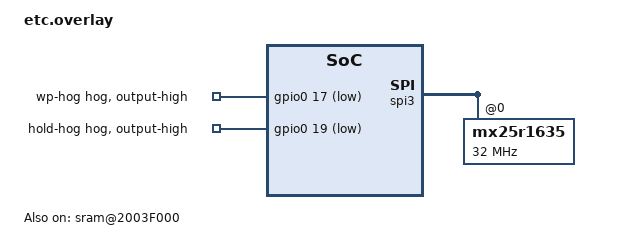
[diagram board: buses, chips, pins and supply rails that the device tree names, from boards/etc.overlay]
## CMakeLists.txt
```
cmake_minimum_required(VERSION 3.13.1)

set(PROJECT_VERSION_MAJOR 4)
set(PROJECT_VERSION_MINOR 0)
set(PROJECT_VERSION_PATCH 1)
set(PROJECT_VERSION ${PROJECT_VERSION_MAJOR}.${PROJECT_VERSION_MINOR}.${PROJECT_VERSION_PATCH})

# set(PROJECT_VERSION_DEV 1)
# set(PROJECT_VERSION_RC 3)
set(PROJECT_VERSION_CARRIER "" CACHE STRING "Carrier identifier suffix (e.g. sora, teal)")

if(PROJECT_VERSION_RC)
  set(PROJECT_VERSION_SUFFIX "rc${PROJECT_VERSION_RC}")
  set(PROJECT_VERSION_BUILD "${PROJECT_VERSION_RC}")
elseif(PROJECT_VERSION_DEV)
  set(PROJECT_VERSION_SUFFIX "dev${PROJECT_VERSION_DEV}")
  set(PROJECT_VERSION_BUILD "99")
else()
  if(PROJECT_VERSION_CARRIER)
    set(PROJECT_VERSION_SUFFIX "${PROJECT_VERSION_CARRIER}")
  else()
    set(PROJECT_VERSION_SUFFIX "")
  endif()
  set(PROJECT_VERSION_BUILD "0")
endif()

if(PROJECT_VERSION_SUFFIX)
  set(PROJECT_VERSION ${PROJECT_VERSION}-${PROJECT_VERSION_SUFFIX})
endif()

set(PM_STATIC_YML_FILE
  ${CMAKE_CURRENT_LIST_DIR}/boards/pm_static.yml
)

configure_file(app_version.h.in ${CMAKE_BINARY_DIR}/app/include/app_version.h)
configure_file(version.h.in ${CMAKE_BINARY_DIR}/app/config/mcu_version.conf)
list(APPEND OVERLAY_CONFIG ${CMAKE_BINARY_DIR}/app/config/mcu_version.conf)

# When tools like VS Code nRF Connect pass -DCONF_FILE="prj.conf", Zephyr skips automatic
# inclusion of board fragments in boards/ (e.g. boards/etc_flex_nrf52840.conf and revision .conf).
# Unsetting CONF_FILE if it is just "prj.conf" allows Zephyr to discover all board/revision configs.
if(CONF_FILE STREQUAL "prj.conf")
  unset(CONF_FILE)
  unset(CONF_FILE CACHE)
endif()

# Similarly, if DTC_OVERLAY_FILE is set by the IDE or user, move it to EXTRA_DTC_OVERLAY_FILE
# so Zephyr's default board overlays in boards/ are still automatically discovered and applied.
if(DEFINED DTC_OVERLAY_FILE)
  list(APPEND EXTRA_DTC_OVERLAY_FILE ${DTC_OVERLAY_FILE})
  unset(DTC_OVERLAY_FILE)
  unset(DTC_OVERLAY_FILE CACHE)
endif()

# Include app_version.h for app and libraries
include_directories(app PRIVATE ${CMAKE_BINARY_DIR}/app/include)

find_package(Zephyr REQUIRED HINTS $ENV{ZEPHYR_BASE})

project(app LANGUAGES C)

target_include_directories(app PRIVATE src)

target_sources(app PRIVATE src/main.c
  src/common.c)
target_sources_ifdef(CONFIG_MCUMGR_SMP_BT app PRIVATE src/bluetooth.c)

add_subdirectory(src/exact)
add_subdirectory(src/events)
add_subdirectory(src/modules)
add_subdirectory(src/data)
add_subdirectory(src/cloud)

zephyr_include_directories_ifdef(CONFIG_MEMFAULT configuration/memfault)
zephyr_include_directories_ifdef(CONFIG_AWS_IOT_PROVISION_CERTIFICATES certs)

if(CONFIG_NRFX_TWIM AND CONFIG_I2C_LOG_LEVEL_DBG)
  zephyr_compile_definitions(NRFX_TWIM_CONFIG_LOG_ENABLED=1)
  # zephyr_compile_definitions(NRFX_SPIM_CONFIG_LOG_ENABLED=1)
endif()
```

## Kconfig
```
menu "EXACT Monitor 2.0 Application"

config PUBLICATION_INTERVAL_SECONDS
	int "Interval in seconds that the sample will publish data"
	default 60

config CONNECTION_RETRY_TIMEOUT_SECONDS
	int "Number of seconds between each AWS IoT connection retry"
	default 30

config APP_AWS_IOT
	bool "Enable/disable use of AWS IoT to connect to cloud"
	default y

rsource "src/exact/Kconfig"
rsource "src/cloud/Kconfig"
rsource "src/cloud/Kconfig.lwm2m"
rsource "src/modules/Kconfig.app_module"
rsource "src/modules/Kconfig.debug_module"
rsource "src/modules/Kconfig.modem_module"
rsource "src/modules/Kconfig.ui_module"
rsource "src/modules/Kconfig.lora_module"
rsource "src/cloud/cloud_codec/Kconfig"
endmenu

menu "Zephyr Kernel"
source "$ZEPHYR_BASE/Kconfig.zephyr"
endmenu

module = ETC_APP
module-str = ETC App
source "${ZEPHYR_BASE}/subsys/logging/Kconfig.template.log_config"
```

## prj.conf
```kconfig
# General config
CONFIG_NEWLIB_LIBC=y
CONFIG_NEWLIB_LIBC_FLOAT_PRINTF=y
CONFIG_POSIX_API=y
CONFIG_ASSERT=y
CONFIG_REBOOT=y
CONFIG_RESET_ON_FATAL_ERROR=n
CONFIG_FPU=y
CONFIG_FW_INFO=y

# Heap and stacks
CONFIG_HW_STACK_PROTECTION=y
CONFIG_MCUMGR_TRANSPORT_WORKQUEUE_STACK_SIZE=4096

# Flash Settings
CONFIG_FLASH=y
CONFIG_FLASH_PAGE_LAYOUT=y
CONFIG_FLASH_MAP=y
CONFIG_SOC_FLASH_NRF_UICR=y
CONFIG_MPU_ALLOW_FLASH_WRITE=y

# Application Event Manager
CONFIG_APP_EVENT_MANAGER=y
CONFIG_APP_EVENT_MANAGER_LOG_EVENT_TYPE=n

# Enable uart console
CONFIG_USB_DEVICE_STACK=y
CONFIG_USB_DEVICE_INITIALIZE_AT_BOOT=y
CONFIG_UART_LINE_CTRL=y
CONFIG_USB_CDC_ACM_LOG_LEVEL_OFF=y

# Enable ETC setting for system configuration
CONFIG_ETC_SETTINGS=y

# Enable Date Time customize with BG95
CONFIG_ETC_DATE_TIME=y

# Device Mode
CONFIG_ETC_DEVICE=y
CONFIG_ETC_DEVICE_MODE=2

############ LwM2M Configuration ############
# DTLS Configuration for use with Quectel BG95
CONFIG_MODEM_QUECTEL_BG95_M3_PSK_KEY="70475440693636213646256D7744"

# ETC Device configuration
CONFIG_ETC_DEVICE_RADIO_MODE=0

CONFIG_LOG_BUFFER_SIZE=2048

# LwM2M Server configuration
CONFIG_LWM2M_INTEGRATION_SERVER_URL="coaps://us.iot.avsystem.cloud:5684"
CONFIG_LWM2M_RD_CLIENT_SUPPORT_BOOTSTRAP=n

# General LwM2M config
CONFIG_EXACT_LWM2M_CLIENT_UTILS=y
CONFIG_EXACT_LWM2M_CLIENT_UTILS_SECURITY_OBJ_SUPPORT=y
CONFIG_LWM2M_INTEGRATION=y
CONFIG_LWM2M=y
CONFIG_LWM2M_DTLS_SUPPORT=y
CONFIG_LWM2M_SECURITY_KEY_SIZE=33
CONFIG_LWM2M_VERSION_1_1=y
CONFIG_LWM2M_ENGINE_STACK_SIZE=4096
CONFIG_LWM2M_COAP_BLOCK_SIZE=1024
CONFIG_LWM2M_DNS_SUPPORT=y
CONFIG_LWM2M_SECURITY_INSTANCE_COUNT=2
CONFIG_COAP_INIT_ACK_TIMEOUT_MS=4000
CONFIG_BASE64=y

# Transmission buffers.
CONFIG_LWM2M_ENGINE_MAX_OBSERVER=5
CONFIG_LWM2M_ENGINE_MAX_MESSAGES=5
CONFIG_LWM2M_ENGINE_MAX_REPLIES=2
CONFIG_LWM2M_ENGINE_MAX_PENDING=2

# App buffer for queuing LwM2M objects and resources
CONFIG_CLOUD_CODEC_LWM2M_PATH_LIST_ENTRIES_MAX=35

# CBOR encoding.
CONFIG_LWM2M_RW_SENML_CBOR_SUPPORT=y
CONFIG_LWM2M_RW_SENML_CBOR_RECORDS=75
CONFIG_ZCBOR=y
CONFIG_ZCBOR_CANONICAL=y
CONFIG_MCUMGR_SMP_CBOR_MAX_DECODING_LEVELS=5
CONFIG_MCUMGR_SMP_CBOR_MAX_ENCODING_LEVELS=5

# Set uptime to once every 12 hours.
CONFIG_LWM2M_ENGINE_DEFAULT_LIFETIME=43200

# LwM2M Queue Mode
CONFIG_LWM2M_QUEUE_MODE_ENABLED=y
# Skipping the socket close when entering RX OFF mode saves 20-30 seconds
# of modem on time. Socket close resets PSM active timer.
CONFIG_LWM2M_RD_CLIENT_SUSPEND_SOCKET_AT_IDLE=y
# Sets the duration that the lwm2m engine will be polling for data after transmission before
# the socket is closed.
CONFIG_LWM2M_QUEUE_MODE_UPTIME=30

# Adjust this to match the longest possible list size in the application.
# Should be minimum the maximum number of supported objects that can be sent simultaneously.
CONFIG_LWM2M_COMPOSITE_PATH_LIST_SIZE=20

# Enable CoAP extended option length.
CONFIG_COAP_EXTENDED_OPTIONS_LEN=y
CONFIG_COAP_EXTENDED_OPTIONS_LEN_VALUE=40

## Zephyr LwM2M Objects
# IPSO v1.1
CONFIG_LWM2M_IPSO_SUPPORT=y

# IPSO Temperature
# Use EXACT Temperature sensor object instead of IPSO
CONFIG_EXACT_LWM2M_TEMP_OBJ=y
CONFIG_EXACT_LWM2M_MAX_TEMP_SENSOR_INSTANCE_COUNT=9
CONFIG_LWM2M_IPSO_TEMP_SENSOR=n

# IPSO Humidity
CONFIG_LWM2M_IPSO_HUMIDITY_SENSOR=y
CONFIG_LWM2M_IPSO_HUMIDITY_SENSOR_VERSION_1_1=y

# Connectivity Monitoring Object
CONFIG_LWM2M_CONNMON_OBJECT_VERSION_1_2=y
CONFIG_LWM2M_CONN_MON_OBJ_SUPPORT=y
CONFIG_LWM2M_CONN_MON_BEARER_MAX=1

# FOTA
CONFIG_FOTA_DOWNLOAD=y
CONFIG_DFU_TARGET=y
CONFIG_DOWNLOAD_CLIENT=y
CONFIG_DOWNLOAD_CLIENT_HTTP_FRAG_SIZE_1024=y
CONFIG_DOWNLOAD_CLIENT_STACK_SIZE=4096
CONFIG_DOWNLOAD_CLIENT_BUF_SIZE=1500
CONFIG_DOWNLOAD_CLIENT_MAX_HOSTNAME_SIZE=128

# Watchdog module configuration
CONFIG_WATCHDOG_APPLICATION_FEED_REQUEST=y

# Retain memory
CONFIG_RETAINED_MEM=y

# Bluetooth
CONFIG_BT=y
CONFIG_BT_SETTINGS=y
CONFIG_BT_DEBUG_LOG=n
CONFIG_BT_PERIPHERAL=y
CONFIG_BT_GATT_CLIENT=y
CONFIG_BT_BROADCASTER=y
# Extended advertising is used only when a splitter is attached: the four
# sub-port temperatures push the manufacturer data past the 31-byte legacy
# limit. Without a splitter the device advertises with legacy ADV_IND.
CONFIG_BT_EXT_ADV=y
# Size the controller's max advertising data length to exactly the extended
# (splitter) advertisement: flags (3) + manufacturer data (2 + 42 = 44) +
# complete name (2 + strlen("Flex_" + 8-digit id) = 15) = 62 bytes.
CONFIG_BT_CTLR_ADV_DATA_LEN_MAX=62
CONFIG_BT_DEVICE_APPEARANCE=833
CONFIG_BT_MAX_CONN=1
CONFIG_BT_MAX_PAIRED=4
# Requested at connection: a modem TX burst can starve the link for longer
# than the default 420 ms supervision timeout.
CONFIG_BT_PERIPHERAL_PREF_TIMEOUT=400
CONFIG_BT_BAS=y
CONFIG_BT_DIS=y
CONFIG_BT_PRIVACY=y
CONFIG_BT_SMP=y
CONFIG_BT_DEVICE_NAME="Flex"
CONFIG_BT_DEVICE_NAME_DYNAMIC=y
CONFIG_BT_DEVICE_NAME_MAX=65
CONFIG_BT_L2CAP_TX_MTU=256
CONFIG_BT_BUF_ACL_RX_SIZE=256
CONFIG_BT_BUF_ACL_TX_SIZE=256
CONFIG_BT_CTLR_DATA_LENGTH_MAX=251
CONFIG_BT_KEYS_OVERWRITE_OLDEST=y
CONFIG_BT_SMP_ALLOW_UNAUTH_OVERWRITE=y
CONFIG_BT_DIS_SETTINGS=y

CONFIG_NRF_SECURITY=y
CONFIG_MBEDTLS_LEGACY_CRYPTO_C=y
CONFIG_MBEDTLS_ENABLE_HEAP=y
CONFIG_MBEDTLS_HEAP_SIZE=2048

CONFIG_BT_DIS_FW_REV=y
CONFIG_BT_DIS_HW_REV=y
CONFIG_BT_DIS_SW_REV=y
CONFIG_BT_DIS_SERIAL_NUMBER=y
# Extended string size is required for serial number (URN)
CONFIG_BT_DIS_STR_MAX=30
CONFIG_BT_DIS_MODEL="Exact-Flex"
CONFIG_BT_DIS_MANUF="EXACT"
CONFIG_BT_DIS_HW_REV_STR="Flex-HW"

# Calibration
CONFIG_ETC_CALIBRATION=y
CONFIG_TMP1826_SUPPORT_EEPROM=y

# Use new record format
CONFIG_ETC_RECORD_CBOR=y
```

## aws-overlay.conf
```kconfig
# AWS IoT library
CONFIG_AWS_IOT=y
CONFIG_AWS_IOT_CLIENT_ID_APP=y
CONFIG_AWS_IOT_BROKER_HOST_NAME="a3mld5b8glqv1c-ats.iot.us-west-2.amazonaws.com"
CONFIG_AWS_IOT_PORT=8883
CONFIG_AWS_IOT_SEC_TAG=201
CONFIG_AWS_IOT_APP_SUBSCRIPTION_LIST_COUNT=1
CONFIG_AWS_IOT_TOPIC_UPDATE_DELTA_SUBSCRIBE=n
CONFIG_AWS_IOT_LAST_WILL=n
CONFIG_AWS_IOT_TOPIC_GET_ACCEPTED_SUBSCRIBE=n
CONFIG_AWS_IOT_TOPIC_GET_REJECTED_SUBSCRIBE=n
CONFIG_AWS_IOT_MQTT_RX_TX_BUFFER_LEN=512
CONFIG_AWS_IOT_MQTT_PAYLOAD_BUFFER_LEN=512
CONFIG_AWS_IOT_CONNECTION_POLL_THREAD=y
CONFIG_AWS_IOT_PROVISION_CERTIFICATES=y

# MQTT - Maximum MQTT keepalive timeout specified by AWS IoT Core
CONFIG_MQTT_KEEPALIVE=15
CONFIG_MQTT_CLEAN_SESSION=y

# MQTT TLS
CONFIG_MQTT_LIB_TLS=y

CONFIG_ZCBOR=y
CONFIG_ZCBOR_CANONICAL=y
CONFIG_MGMT_MAX_DECODING_LEVELS=5
```

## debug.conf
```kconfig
### Cloud/Modem log levels ###
# CONFIG_MODEM_LOG_LEVEL_DBG=y
# CONFIG_MODEM_CONTEXT_VERBOSE_DEBUG=y
CONFIG_LWM2M_LOG_LEVEL_DBG=n
CONFIG_MODEM_SHELL=y
CONFIG_CLOUD_CODEC_LOG_LEVEL_DBG=n
CONFIG_CLOUD_INTEGRATION_LOG_LEVEL_DBG=n
CONFIG_GNSS_LOG_LEVEL_DBG=y
#CONFIG_MODEM_MODULE_SHELL=y

# CONFIG_SEGGER_SYSTEMVIEW=y
# CONFIG_TRACING=y

# CONFIG_MODEM_MODULE_MAX_CONNECTION_TIME_S=60

### UART/Shell/Console log levels ###
# CONFIG_MCUMGR_SMP_LOG_LEVEL_DBG=y
# CONFIG_MCUMGR_LOG_LEVEL_DBG=y
# CONFIG_UART_LOG_LEVEL_DBG=y

### Net log levels ###
# CONFIG_NET_CORE_LOG_LEVEL_DBG=y
# CONFIG_NET_IF_LOG_LEVEL_DBG=y
# CONFIG_NET_CONN_LOG_LEVEL_DBG=y
# CONFIG_NET_SOCKETS_LOG_LEVEL_DBG=y
# CONFIG_NET_ROUTE_LOG_LEVEL_DBG=y
# CONFIG_NET_IPV4_LOG_LEVEL_DBG=y

### Peripheral devices log levels ###
# CONFIG_I2C_SHELL=y
# CONFIG_BQ25618_LOG_LEVEL_DBG=y

### ETC APP log levels ###
CONFIG_ETC_APP_LOG_LEVEL_DBG=y
CONFIG_ETC_SETTINGS_LOG_LEVEL_DBG=y
# CONFIG_ETC_BATTERY_LOG_LEVEL_DBG=y
# CONFIG_LORA_LOG_LEVEL_DBG=y

### Date/Time and RTC log levels ###
CONFIG_WATCHDOG_LOG_LEVEL_DBG=y
CONFIG_DATE_TIME_LOG_LEVEL_DBG=y
CONFIG_PCF85263_LOG_LEVEL_DBG=n

### ETC Libs log levels ###
CONFIG_UI_LOG_LEVEL_DBG=y
CONFIG_ETC_INTERFACE_LOG_LEVEL_DBG=y

### Memory log levels ###
CONFIG_STREAM_FLASH_LOG_LEVEL_DBG=y
CONFIG_FLASH_LOG_LEVEL_INF=y

### Add flash map to report partition structure ###
CONFIG_FLASH_MAP_SHELL=y

### FW Update log levels ###
CONFIG_DFU_TARGET_LOG_LEVEL_DBG=y
CONFIG_DOWNLOAD_CLIENT_LOG_LEVEL_DBG=y
```

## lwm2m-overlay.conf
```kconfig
# DTLS Configuration for use with Quectel BG95
CONFIG_MODEM_QUECTEL_BG95_M3_PSK_KEY="70475440693636213646256D7744"

# ETC Device configuration
CONFIG_ETC_DEVICE_MODE=2
CONFIG_ETC_DEVICE_RADIO_MODE=0

CONFIG_LOG_BUFFER_SIZE=2048

# LwM2M Server configuration
CONFIG_LWM2M_INTEGRATION_SERVER_URL="coaps://us.iot.avsystem.cloud:5684"
CONFIG_LWM2M_RD_CLIENT_SUPPORT_BOOTSTRAP=n

# General LwM2M config
CONFIG_EXACT_LWM2M_CLIENT_UTILS=y
CONFIG_EXACT_LWM2M_CLIENT_UTILS_SECURITY_OBJ_SUPPORT=y
CONFIG_LWM2M_INTEGRATION=y
CONFIG_LWM2M=y
CONFIG_LWM2M_DTLS_SUPPORT=y
CONFIG_LWM2M_SECURITY_KEY_SIZE=33
CONFIG_LWM2M_VERSION_1_1=y
CONFIG_LWM2M_ENGINE_STACK_SIZE=4096
CONFIG_LWM2M_COAP_BLOCK_SIZE=1024
CONFIG_LWM2M_DNS_SUPPORT=y
CONFIG_LWM2M_SECURITY_INSTANCE_COUNT=2
CONFIG_COAP_INIT_ACK_TIMEOUT_MS=4000
CONFIG_BASE64=y

# Transmission buffers.
CONFIG_LWM2M_ENGINE_MAX_OBSERVER=5
CONFIG_LWM2M_ENGINE_MAX_MESSAGES=2
CONFIG_LWM2M_ENGINE_MAX_REPLIES=2
CONFIG_LWM2M_ENGINE_MAX_PENDING=2

# CBOR encoding.
CONFIG_LWM2M_RW_SENML_CBOR_SUPPORT=y
CONFIG_LWM2M_RW_SENML_CBOR_RECORDS=45
CONFIG_ZCBOR=y
CONFIG_ZCBOR_CANONICAL=y
CONFIG_MGMT_MAX_DECODING_LEVELS=5

# Set uptime to once every 12 hours.
CONFIG_LWM2M_ENGINE_DEFAULT_LIFETIME=43200

# LwM2M Queue Mode
CONFIG_LWM2M_QUEUE_MODE_ENABLED=y
CONFIG_LWM2M_RD_CLIENT_SUSPEND_SOCKET_AT_IDLE=y
# Sets the duration that the lwm2m engine will be polling for data after transmission before
# the socket is closed.
CONFIG_LWM2M_QUEUE_MODE_UPTIME=30

# Adjust this to match the longest possible list size in the application.
# Should be minimum the maximum number of supported objects that can be sent simultaneously.
CONFIG_LWM2M_COMPOSITE_PATH_LIST_SIZE=15

# Enable CoAP extended option length.
CONFIG_COAP_EXTENDED_OPTIONS_LEN=y
CONFIG_COAP_EXTENDED_OPTIONS_LEN_VALUE=40

# IPSO v1.1
CONFIG_LWM2M_IPSO_SUPPORT=y

# IPSO Temperature
# Use EXACT Temperature sensor object instead of IPSO
CONFIG_LWM2M_IPSO_TEMP_SENSOR=n

# IPSO Humidity
CONFIG_LWM2M_IPSO_HUMIDITY_SENSOR=y
CONFIG_LWM2M_IPSO_HUMIDITY_SENSOR_VERSION_1_1=y
```

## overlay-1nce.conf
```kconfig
CONFIG_MODEM_QUECTEL_BG95_M3_APN="iot.1nce.net"
```

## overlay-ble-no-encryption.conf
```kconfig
CONFIG_ETC_BLE_ENCRYPTION=n
```

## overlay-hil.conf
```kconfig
# Hardware-in-the-loop (HIL) test hooks. Kept out of debug.conf so normal debug
# builds don't carry the test-only shell command overhead. Apply this overlay
# only when building firmware to run the tests under tests/hil/.

# Inject HALL/magnet-swipe events and query rail-settling state from the shell
# (magnet swipe / magnet status) for the FW-492 settling test.
CONFIG_ETC_INTERFACE_TEST_SHELL=y

# Drive the calibration state machine directly from the shell (calibration init /
# calibration run) so the calibration bug-fix HIL tests (FW-588/611/612/613) can
# reach a deterministic state (e.g. a completed-but-not-uploaded result to
# exercise the FW-611 re-entry guard) without depending on cloud connectivity.
CONFIG_CALIBRATION_MODULE_SHELL=y

# Drive the modem power state machine from the shell (modem_module power on/off,
# modem_module state) so the FW-1152 power-state HIL tests can force transitions
# on the modem module thread and cross-check the app, driver and PM views.
CONFIG_MODEM_MODULE_SHELL=y

# Stop the advertising set behind the app's back (ble adv_kill) so the FW-1203
# advertising watchdog HIL test can check it is restarted.
CONFIG_ETC_BLE_TEST_SHELL=y

# Drive sensor readings from the shell (sensor_sim set/clear/status) so the
# FW-1234 threshold trigger test needs no physical probe.
CONFIG_ETC_SENSOR_SIM_SHELL=y
```

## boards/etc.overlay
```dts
/ {
	chosen {
		nordic,pm-ext-flash = &mx25r1635;
		zephyr,uart-mcumgr = &cdc_acm_uart1;
		zephyr,shell-uart = &cdc_acm_uart0;
		zephyr,console = &cdc_acm_uart0;
	};

	aliases {
		rtc = &i2c0;
	};
};

/ {
	sram@2003F000 {
		compatible = "zephyr,memory-region", "mmio-sram";
		reg = <0x2003F000 0x1000>;
		zephyr,memory-region = "RetainedMem";
		status = "okay";

		retainedmem0: retainedmem {
			compatible = "zephyr,retained-ram";
			status = "okay";
	        };
        };

	aliases {
		record-header-ram = &retainedmem0;
	};
};

&gpregret1 {
	status = "disabled";
};

&gpregret2 {
	status = "disabled";
};

&sram0 {
	reg = <0x20000000 DT_SIZE_K(252)>;
};

&spi3 {
	mx25r1635: mx25r1635@0 {
		spi-max-frequency = <32000000>;
	};
};

&gpio0 {
	wp-hog {
		gpio-hog;
		gpios = <17 GPIO_ACTIVE_LOW>;
		output-high;
	};

	hold-hog {
		gpio-hog;
		gpios = <19 GPIO_ACTIVE_LOW>;
		output-high;
	};
};
```

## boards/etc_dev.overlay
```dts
&pinctrl {
	uart0_default: uart0_default {
		group1 {
			psels = <NRF_PSEL(UART_TX, 1, 0)>,
				<NRF_PSEL(UART_RX, 1, 9)>;
		};
	};

	uart0_sleep: uart0_sleep {
		group1 {
			psels = <NRF_PSEL(UART_TX, 1, 0)>,
				<NRF_PSEL(UART_RX, 1, 9)>;
			low-power-enable;
		};
	};
};

/ {
	chosen {
		nordic,pm-ext-flash = &mx25r1635;
		zephyr,console = &uart0;
	};
};

&uart0 {
	status = "okay";
	current-speed = <115200>;
	pinctrl-0 = <&uart0_default>;
	pinctrl-1 = <&uart0_sleep>;
	pinctrl-names = "default", "sleep";
};

/* A7 = P0.31 = AIN7 - ADC_AMB */ 
/* A3 = P0.5  = AIN3 - ADC_BATT*/
/* A2 = P0.4 = AIN2 - ADC_TH*/
/ {
	zephyr,user {
		/* adjust channel number according to pinmux in board.dts */
		io-channels = <&adc 7>, <&adc 3>, <&adc 2>;
	};
};

&adc {
	#address-cells = <1>;
	#size-cells = <0>;

	channel@7 {
		reg = <7>;
		zephyr,gain = "ADC_GAIN_1_5";
		zephyr,reference = "ADC_REF_INTERNAL";
		zephyr,acquisition-time = <ADC_ACQ_TIME_DEFAULT>;
		zephyr,input-positive = <NRF_SAADC_AIN6>; 
		zephyr,resolution = <12>;
		zephyr,oversampling = <8>;
	};

	channel@3 {
		reg = <3>;
		zephyr,gain = "ADC_GAIN_1_5";
		zephyr,reference = "ADC_REF_INTERNAL";
		zephyr,acquisition-time = <ADC_ACQ_TIME_DEFAULT>;
		zephyr,input-positive = <NRF_SAADC_AIN3>;
		zephyr,resolution = <12>;
		zephyr,oversampling = <8>;
	};

	channel@2 {
		reg = <2>;
		zephyr,gain = "ADC_GAIN_1_5";
		zephyr,reference = "ADC_REF_INTERNAL";
		zephyr,acquisition-time = <ADC_ACQ_TIME_DEFAULT>;
		zephyr,input-positive = <NRF_SAADC_AIN2>;
		zephyr,resolution = <12>;
		zephyr,oversampling = <8>;
	};
};
```

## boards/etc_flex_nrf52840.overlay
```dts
/ {
	chosen {
		nordic,pm-ext-flash = &mx25r1635;
		zephyr,uart-mcumgr = &cdc_acm_uart1;
		zephyr,shell-uart = &cdc_acm_uart0;
		zephyr,console = &cdc_acm_uart0;
	};

	aliases {
		rtc = &i2c0;
	};
};

/ {
	sram@2003F000 {
		compatible = "zephyr,memory-region", "mmio-sram";
		reg = <0x2003F000 0xC00>;
		zephyr,memory-region = "RetainedMem";
		status = "okay";

		retainedmem0: retainedmem {
			compatible = "zephyr,retained-ram";
			status = "okay";
	        };
        };

	sram@2003FC00 {
		compatible = "zephyr,memory-region", "mmio-sram";
		reg = <0x2003FC00 0x380>;
		zephyr,memory-region = "ReclaimRetainedMem";
		status = "okay";

		retainedmem1: retainedmem1 {
			compatible = "zephyr,retained-ram";
			status = "okay";
		};
	};

	sram@2003FF80 {
		compatible = "zephyr,memory-region", "mmio-sram";
		reg = <0x2003FF80 0x80>;
		zephyr,memory-region = "LteSyncRetainedMem";
		status = "okay";

		retainedmem2: retainedmem2 {
			compatible = "zephyr,retained-ram";
			status = "okay";
		};
	};

	aliases {
		reclaim-request-ram = &retainedmem1;
		record-header-ram = &retainedmem0;
		lte-sync-ram = &retainedmem2;
	};
};

&gpregret1 {
	status = "disabled";
};

&gpregret2 {
	status = "disabled";
};

&sram0 {
	reg = <0x20000000 DT_SIZE_K(252)>;
};

// Comment deletion of wp-gpios and hold-gpios after upgrade to NCS v2.7.0
// Without these properties, the spi_nor driver doesn't initialize properly.
&spi3 {
	mx25r1635: mx25r1635@0 {
		spi-max-frequency = <32000000>;
		// /delete-property/ wp-gpios;
		// /delete-property/ hold-gpios;
	};
};

// &gpio0 {
// 	wp-hog {
// 		gpio-hog;
// 		gpios = <17 GPIO_ACTIVE_LOW>;
// 		output-high;
// 	};

// 	hold-hog {
// 		gpio-hog;
// 		gpios = <19 GPIO_ACTIVE_LOW>;
// 		output-high;
// 	};
// };
```

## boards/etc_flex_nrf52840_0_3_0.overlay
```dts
&i2c1 {
	w1: w1@18 {
		compatible = "exact,ds2484";
		reg = <0x18>;
		w1_ds28e18: w1_ds28e18 {
			compatible = "maxim,ds28e18";
			family-code = <0x56>;
			status = "okay";
			#address-cells = <1>;
			#size-cells = <0>;
			clock-frequency = <I2C_BITRATE_STANDARD>;
			sht31@44 {
				compatible = "sensirion,sht31";
				reg = <0x44>;
				status = "okay";
			};
		};
		w1_tmp1826: w1_tmp1826 {
			compatible = "ti,tmp1826";
			family-code = <0x26>;
			resolution = <12>;
			status = "okay";
		};
	};
};
```

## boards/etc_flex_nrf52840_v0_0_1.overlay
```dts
/ {
	chosen {
		nordic,pm-ext-flash = &mx25r1635;
		zephyr,uart-mcumgr = &cdc_acm_uart0;
	};
};
```

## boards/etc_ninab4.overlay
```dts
/ {
	chosen {
		// nordic,pm-ext-flash = &mx25l6433;
		zephyr,console = &uart0;
		zephyr,shell-uart = &uart0;
	};

	vbatt {
		compatible = "voltage-divider";
		output-ohms = <2000000>;
		full-ohms = <(2000000 + 2000000)>;
		io-channels = <&adc 3>;
	};

	ntc {
		compatible = "temp,ntc";
		b-value-k = <3434>;
		norminal-25c-ohms = <10000>;
		reference-res-ohms = <10000>;
		reference-voltage-mv = <3000>;
	};
};

/* A0 = P0.04 = AIN2 */
/* A1 = P0.30 = AIN6 */
/* A2 = P0.5  = AIN3 */
/* A3 = P0.2  = AIN0 */
/* A4 = P0.28 = AIN4 */
/ {
	zephyr,user {
		/* adjust channel number according to pinmux in board.dts */
		io-channels = <&adc 2>, <&adc 6>, <&adc 3>;
	};
};
```

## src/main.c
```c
#include <zephyr/kernel.h>
#include <stdio.h>
#include <stdlib.h>
#include <zephyr/drivers/gpio.h>
#include <zephyr/usb/usb_device.h>
#include <app_version.h>
#include <zephyr/dfu/mcuboot.h>
#include <zephyr/pm/pm.h>
#include <zephyr/pm/device.h>
#include <zephyr/drivers/hwinfo.h>
#include <zephyr/stats/stats.h>
#include <zephyr/storage/flash_map.h>
#include <app_event_manager.h>
#include <zephyr/sys/reboot.h>
#if IS_ENABLED(CONFIG_ETC_DATE_TIME)
#include "etc_date_time.h"
#endif
#include "ui.h"
#include "data/etc_cape.h"
#include "events/app_event.h"
#include "etc_device.h"
#include "etc_settings.h"
#if defined(CONFIG_BT)
#include "etc_ble.h"
#endif
#if defined(CONFIG_LWM2M_INTEGRATION_FIRMWARE_UPDATE_OBJ_SUPPORT)
#include "lwm2m_firmware.h"
#endif
#include <zephyr/logging/log.h>
LOG_MODULE_REGISTER(main, CONFIG_ETC_APP_LOG_LEVEL);

#define MODULE_APP_THREAD_STACK_SIZE	2048
#define MODULE_CLOUD_THREAD_STACK_SIZE	4096
#define MODULE_BLE_THREAD_STACK_SIZE	4096
#define MODULE_DATA_THREAD_STACK_SIZE	2048
#define MODULE_LORA_THREAD_STACK_SIZE	2048
#define MODULE_MODEM_THREAD_STACK_SIZE	2048
#define MODULE_SENSOR_THREAD_STACK_SIZE 2048

static struct k_thread app_thread;
static struct k_thread cloud_thread;
static struct k_thread ble_thread;
static struct k_thread data_thread;
static struct k_thread lora_thread;
static struct k_thread modem_thread;
static struct k_thread sensor_thread;

static K_KERNEL_STACK_DEFINE(app_stack, MODULE_APP_THREAD_STACK_SIZE);
static K_KERNEL_STACK_DEFINE(cloud_stack, MODULE_CLOUD_THREAD_STACK_SIZE);
static K_KERNEL_STACK_DEFINE(ble_stack, MODULE_BLE_THREAD_STACK_SIZE);
static K_KERNEL_STACK_DEFINE(data_stack, MODULE_DATA_THREAD_STACK_SIZE);
static K_KERNEL_STACK_DEFINE(lora_stack, MODULE_LORA_THREAD_STACK_SIZE);
static K_KERNEL_STACK_DEFINE(modem_stack, MODULE_MODEM_THREAD_STACK_SIZE);
static K_KERNEL_STACK_DEFINE(sensor_stack, MODULE_SENSOR_THREAD_STACK_SIZE);

#ifdef CONFIG_MCUMGR_GRP_STAT
#include <zephyr/mgmt/mcumgr/grp/stat_mgmt/stat_mgmt.h>
#endif
#ifdef CONFIG_MCUMGR_CMD_ETC_MGMT
#include "etc_mgmt.h"
#endif

/* Define an example stats group; approximates seconds since boot. */
STATS_SECT_START(smp_svr_stats)
STATS_SECT_ENTRY(ticks)
STATS_SECT_END;

/* Assign a name to the `ticks` stat. */
STATS_NAME_START(smp_svr_stats)
STATS_NAME(smp_svr_stats, ticks)
STATS_NAME_END(smp_svr_stats);
/* Define an instance of the stats group. */
STATS_SECT_DECL(smp_svr_stats) smp_svr_stats;

char key[] = "ElL10TaC4T";

extern void app_module_thread_fn(void);
extern void cloud_module_thread_fn(void);
extern void ble_module_thread_fn(void);
extern void data_module_thread_fn(void);
extern void lora_module_thread_fn(void);
extern void modem_module_thread_fn(void);
extern void sensor_module_thread_fn(void);

int main(void)
{
	int rc = STATS_INIT_AND_REG(smp_svr_stats, STATS_SIZE_32, "smp_svr_stats");
	if (rc < 0) {
		LOG_ERR("Error initializing stats system [%d]", rc);
		return -EINVAL;
	}

	LOG_INF("EXACT Monitor 2.0 version %s", APP_VERSION_STRING);
#ifdef CONFIG_MCUMGR_CMD_ETC_MGMT
	etc_mgmt_register_group();
#endif

	struct mcuboot_img_header img_hdr;
	etc_cape_init(key, 10, 0);
	etc_cape_set_key(key, 10);

#ifdef CONFIG_MCUMGR
	/* using __TIME__ ensure that a new binary will be built on every
	 * compile which is convient when testing firmware upgrade.
	 */
	rc = boot_read_bank_header(FLASH_AREA_ID(image_0), &img_hdr, sizeof(img_hdr));
	if (rc) {
		LOG_ERR("Failed to get header %d", rc);
		return -EINVAL;
	} else {
		if (APP_VERSION_MAJOR != img_hdr.h.v1.sem_ver.major ||
		    APP_VERSION_MINOR != img_hdr.h.v1.sem_ver.minor ||
		    APP_VERSION_PATCH != img_hdr.h.v1.sem_ver.revision)
			LOG_DBG("Build Date: " __DATE__ " " __TIME__ " Version: %u.%u.%u+%u",
				(unsigned int)img_hdr.h.v1.sem_ver.major,
				(unsigned int)img_hdr.h.v1.sem_ver.minor,
				(unsigned int)img_hdr.h.v1.sem_ver.revision,
				(unsigned int)img_hdr.h.v1.sem_ver.build_num);
	}
#endif

#if defined(CONFIG_BOOTLOADER_MCUBOOT)
#if defined(CONFIG_LWM2M_INTEGRATION_FIRMWARE_UPDATE_OBJ_SUPPORT)
	lwm2m_firmware_self_confirm();
#else
	if (!boot_is_img_confirmed()) {
		LOG_INF("Unconfirmed image on boot; self-confirming to prevent rollback...");
		rc = boot_write_img_confirmed();
		if (rc) {
			LOG_ERR("Failed to confirm image: %d", rc);
		} else {
			LOG_INF("Firmware image confirmed successfully");
		}
	}
#endif
#endif

	etc_device_nvs_init();
	etc_settings_init();
	etc_device_init();
	ui_init();

	/* Initialize all threads */
	k_thread_create(&app_thread, app_stack, K_KERNEL_STACK_SIZEOF(app_stack),
			(k_thread_entry_t)app_module_thread_fn, NULL, NULL, NULL,
			K_LOWEST_APPLICATION_THREAD_PRIO, 0, K_NO_WAIT);
	k_thread_create(&cloud_thread, cloud_stack, K_KERNEL_STACK_SIZEOF(cloud_stack),
			(k_thread_entry_t)cloud_module_thread_fn, NULL, NULL, NULL,
			K_LOWEST_APPLICATION_THREAD_PRIO, 0, K_NO_WAIT);
	k_thread_create(&ble_thread, ble_stack, K_KERNEL_STACK_SIZEOF(ble_stack),
			(k_thread_entry_t)ble_module_thread_fn, NULL, NULL, NULL,
			K_LOWEST_APPLICATION_THREAD_PRIO, 0, K_NO_WAIT);
	k_thread_create(&data_thread, data_stack, K_KERNEL_STACK_SIZEOF(data_stack),
			(k_thread_entry_t)data_module_thread_fn, NULL, NULL, NULL,
			K_LOWEST_APPLICATION_THREAD_PRIO, 0, K_NO_WAIT);
	k_thread_create(&lora_thread, lora_stack, K_KERNEL_STACK_SIZEOF(lora_stack),
			(k_thread_entry_t)lora_module_thread_fn, NULL, NULL, NULL,
			K_LOWEST_APPLICATION_THREAD_PRIO, 0, K_NO_WAIT);
	k_thread_create(&modem_thread, modem_stack, K_KERNEL_STACK_SIZEOF(modem_stack),
			(k_thread_entry_t)modem_module_thread_fn, NULL, NULL, NULL,
			K_LOWEST_APPLICATION_THREAD_PRIO, 0, K_NO_WAIT);
	k_thread_create(&sensor_thread, sensor_stack, K_KERNEL_STACK_SIZEOF(sensor_stack),
			(k_thread_entry_t)sensor_module_thread_fn, NULL, NULL, NULL,
			K_LOWEST_APPLICATION_THREAD_PRIO, 0, K_NO_WAIT);

	if (app_event_manager_init()) {
		/* Without the Application Event Manager, the application will not work
		 * as intended. A reboot is required in an attempt to recover.
		 */
		LOG_ERR("Application Event Manager could not be initialized, rebooting...");
		k_sleep(K_SECONDS(5));
		sys_reboot(SYS_REBOOT_COLD);
		while (1) {
			k_yield();
		}
	} else {
		LOG_INF("Application Event Manager initialized successfully");
	}

	struct app_event *event = new_app_event();
	event->type = APP_EVT_START;
	APP_EVENT_SUBMIT(event);
	/* The system work queue handles all incoming mcumgr requests.  Let the
	 * main thread idle while the mcumgr server runs.
	 */
	while (true) {
		k_sleep(K_FOREVER);
	}

	/* Never reach here */
	return 0;
}
```

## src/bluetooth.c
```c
/*
 * Copyright (c) 2012-2014 Wind River Systems, Inc.
 * Copyright (c) 2020 Prevas A/S
 *
 * SPDX-License-Identifier: Apache-2.0
 */

#include <zephyr/bluetooth/bluetooth.h>
#include <zephyr/bluetooth/conn.h>
#include <zephyr/bluetooth/gatt.h>
#include <zephyr/mgmt/mcumgr/smp_bt.h>

#define LOG_LEVEL LOG_LEVEL_DBG
#include <zephyr/logging/log.h>
LOG_MODULE_REGISTER(smp_bt);

static struct k_work advertise_work;

static const struct bt_data ad[] = {
	BT_DATA_BYTES(BT_DATA_FLAGS, (BT_LE_AD_GENERAL | BT_LE_AD_NO_BREDR)),
	BT_DATA_BYTES(BT_DATA_UUID128_ALL,
		      0x84, 0xaa, 0x60, 0x74, 0x52, 0x8a, 0x8b, 0x86,
		      0xd3, 0x4c, 0xb7, 0x1d, 0x1d, 0xdc, 0x53, 0x8d),
};

static void advertise(struct k_work *work)
{
	int rc;

	bt_le_adv_stop();

	rc = bt_le_adv_start(BT_LE_ADV_CONN_NAME, ad, ARRAY_SIZE(ad), NULL, 0);
	if (rc) {
		LOG_ERR("Advertising failed to start (rc %d)", rc);
		return;
	}

	LOG_INF("Advertising successfully started");
}

static void connected(struct bt_conn *conn, uint8_t err)
{
	if (err) {
		LOG_ERR("Connection failed (err 0x%02x)", err);
	} else {
		LOG_INF("Connected");
	}
}

static void disconnected(struct bt_conn *conn, uint8_t reason)
{
	LOG_INF("Disconnected (reason 0x%02x)", reason);
	k_work_submit(&advertise_work);
}

BT_CONN_CB_DEFINE(conn_callbacks) = {
	.connected = connected,
	.disconnected = disconnected,
};

static void bt_ready(int err)
{
	if (err) {
		LOG_ERR("Bluetooth init failed (err %d)", err);
		return;
	}

	LOG_INF("Bluetooth initialized");

	k_work_submit(&advertise_work);
}

void start_smp_bluetooth(void)
{
	k_work_init(&advertise_work, advertise);

	/* Enable Bluetooth. */
	int rc = bt_enable(bt_ready);

	if (rc != 0) {
		LOG_ERR("Bluetooth init failed (err %d)", rc);
		return;
	}

	/* Initialize the Bluetooth mcumgr transport. */
	smp_bt_register();
}
```

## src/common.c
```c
#include "etc_device.h"
#include "etc_sensor.h"
#include "etc_settings.h"
#include "etc_battery.h"
#include "app_version.h"
#include "common.h"
#include "etc_util.h"

#include <zephyr/logging/log.h>
LOG_MODULE_REGISTER(common, CONFIG_ETC_APP_LOG_LEVEL);

#define PAYLOAD_LOGGER_LEGACY_LEN 128

static char decoded_buf[PAYLOAD_LOGGER_LEGACY_LEN] = {0x00};

void etc_common_add_sensor_value(char *decoded_buf, int *decoded_buf_len, int decoded_buf_size,
				 float value)
{
	if (sensor_temperature_is_valid(value)) {
		*decoded_buf_len += snprintf(decoded_buf + *decoded_buf_len,
					     decoded_buf_size - *decoded_buf_len, "%.1f,", value);
	} else {
		*decoded_buf_len += snprintf(decoded_buf + *decoded_buf_len,
					     decoded_buf_size - *decoded_buf_len, "*,");
	}
}

int etc_common_prepare_relay_legacy_data(struct etc_device_relay_record *record, char *out_buf,
					 int *out_len, int out_size)
{
	int decoded_buf_len = 0;
	bool is_parent = false;

	char relay_iccid[ETC_SETTING_RELAY_ICCID_LEN + 1] = {0};
	etc_get_relay_iccid(relay_iccid, sizeof(relay_iccid));
	relay_iccid[ETC_SETTING_RELAY_ICCID_LEN] = '\0';

	if (etc_common_is_packet_from_parent(relay_iccid, record->relay_id)) {
		is_parent = true;
	}

	/* Legacy format:
		<Logger FW Ver>,<Logger RSSI>,<Logger ID>,<Logger Vbat>,
		`<Relay RSSI>`,`<Relay Vbat>`,`<Relay Qual>`,<Relay FW Ver>,
		<packet #>,<timestamp>,
		<temp 1>,<temp 2>,<temp 3>,<temp 4>,<temp 5>,<Humidity>,
		<isParent?>,<isReclaimed?>,
		<temp 1.B>,<temp 2.B>,<temp 3.B>,<temp 4.B>,
		<Error Code>
	 */
	float relay_vbat = (float)etc_battery_get_voltage_mV() / 1000.0;
	decoded_buf_len +=
		snprintf(out_buf, out_size, "%s,%d,%s,%.2f,*,%.2f,*,%s,%d,%d,", record->logger_ver,
			 record->logger_rssi, record->logger_id, record->battery, relay_vbat,
			 APP_VERSION_STRING, record->packet_number, record->timestamp);

	for (int i = 0; i <= SENSOR_INPUT_IN4; i++) {
		etc_common_add_sensor_value(out_buf, &decoded_buf_len, out_size, record->sensor[i]);
	}
	etc_common_add_sensor_value(out_buf, &decoded_buf_len, out_size,
				    record->sensor[SENSOR_INPUT_AMBIENT]);

	if (sensor_humidity_is_valid(record->sensor[SENSOR_INPUT_HUMID])) {
		decoded_buf_len += snprintf(out_buf + decoded_buf_len, out_size - decoded_buf_len,
					    "%.1f,", record->sensor[SENSOR_INPUT_HUMID]);
	} else {
		decoded_buf_len +=
			snprintf(out_buf + decoded_buf_len, out_size - decoded_buf_len, "*,");
	}

	decoded_buf_len += snprintf(out_buf + decoded_buf_len, out_size - decoded_buf_len, "%d,%d,",
				    is_parent ? 1 : 0, record->is_reclaim ? 1 : 0);

	/* Splitter sub-port temperatures (fixed position after isReclaimed).
	 * Only include if at least one sub-port has a valid reading.
	 */
	bool has_splitter = false;
	for (int i = SENSOR_INPUT_IN5; i <= SENSOR_INPUT_IN8; i++) {
		if (sensor_temperature_is_valid(record->sensor[i])) {
			has_splitter = true;
			break;
		}
	}
	if (has_splitter) {
		for (int i = SENSOR_INPUT_IN5; i <= SENSOR_INPUT_IN8; i++) {
			etc_common_add_sensor_value(out_buf, &decoded_buf_len, out_size,
						    record->sensor[i]);
		}
	}

	for (int i = 0; i < ETC_DEVICE_NUM_EXTRA_ELEMENT; i++) {
		if (record->data[i] == -1) {
			decoded_buf_len += snprintf(out_buf + decoded_buf_len,
						    out_size - decoded_buf_len, "*,");
		} else if (record->data[i] != ETC_DEVICE_INVALID_VALUE_ELEMENT) {
			decoded_buf_len +=
				snprintf(out_buf + decoded_buf_len, out_size - decoded_buf_len,
					 "%d,", record->data[i]);
		} else {
			break;
		}
	}

	if (decoded_buf_len + 1 <= out_size) {
		out_buf[decoded_buf_len] = '\0';
	} else {
		return -ENOMEM;
	}

	*out_len = decoded_buf_len;
	return 0;
}

int etc_common_prepare_relay_legacy_packet(struct etc_device_relay_packet *packet, char *out_buf,
					   int *out_len, int out_size)
{
	char *p_buf = out_buf;
	int temp_len = 0;
	int ret;
	int packed = 0;

	*out_len = 0;

	for (int i = 0; i < packet->num_records; i++) {
		int sep_len = 0;

		/* Records are joined with '|'. Write the separator first, but be ready
		 * to back it out if the following record does not fit. */
		if (packed > 0) {
			if ((out_size - *out_len) <= 1) {
				break;
			}
			*p_buf = '|';
			p_buf++;
			(*out_len)++;
			*p_buf = '\0';
			sep_len = 1;
		}

		ret = etc_common_prepare_relay_legacy_data(&packet->records[i], p_buf, &temp_len,
							   out_size - *out_len);
		if (ret != 0) {
			/* This record does not fit. Drop the separator just written and
			 * stop here; the unpacked records stay queued for the next send so
			 * the relay always makes forward progress instead of stalling on an
			 * oversized package (FW-886). */
			p_buf -= sep_len;
			*out_len -= sep_len;
			if (sep_len) {
				*p_buf = '\0';
			}
			break;
		}
		p_buf += temp_len;
		*out_len += temp_len;
		packed++;
	}

	if (packed == 0) {
		/* Not even the first record fit (a single record larger than out_size).
		 * Surface the error as before - there is no partial progress to make. */
		return -ENOMEM;
	}

	/* Report how many records actually made it into the buffer so the caller can
	 * advance the relay read index by exactly that many. */
	packet->num_records = packed;
	return 0;
}

bool etc_common_is_packet_from_parent(char *relay_iccid, char *relay_id)
{
	if (((strncmp(relay_id, "OPEN", strlen("OPEN")) == 0) &&
	     (strlen(relay_id) == strlen("OPEN"))) ||
	    (strncmp(relay_id, relay_iccid, ETC_SETTING_RELAY_ICCID_LEN) == 0 &&
	     (strlen(relay_id) == strlen(relay_iccid)))) {
		return true;
	}
	return false;
}

#ifdef CONFIG_ETC_BLE_PAYLOAD_LEGACY_FORMAT

static char buf_tmp[ETC_SETTINGS_DEVICE_ID_LEN];

int etc_common_prepare_logger_legacy_data(union etc_device_record record, bool is_reclaim,
					  char *out_buf, uint8_t *out_len)
{
	static uint8_t pkt_counter = 0;
	etc_get_device_id(buf_tmp, ETC_SETTINGS_DEVICE_ID_LEN);
	int decoded_buf_len = 0;

	/* Legacy format:
		<Firmware version>,<ID/Serial number>,<Battery voltage>,
		<packet #>,<timestamp>,
		<temp 1>,<temp 2>,<temp 3>,<temp 4>,<temp 5>,<humidity>,
		<isReclaimed>[,<temp 1.B>[,<temp 2.B>[,<temp 3.B>[,<temp 4.B>]]]]

	   The splitter sub-port temperatures (1.B..4.B = IN5..IN8) are appended
	   after isReclaimed. Trailing disconnected sub-ports are omitted: the
	   fields run from 1.B up to the highest sub-port with a valid reading, so
	   interior gaps appear as "*" but nothing is sent past the last valid port.
	 */
	decoded_buf_len +=
		snprintf(decoded_buf, sizeof(decoded_buf), "%s,%s,%1.2f,%d,%d,", APP_VERSION_STRING,
			 buf_tmp, record.battery, pkt_counter, record.timestamp);

	pkt_counter += 1;
	if (pkt_counter >= LOGGER_MAXIMUM_COUNTER) {
		pkt_counter = 0;
	}

	for (int i = 0; i <= SENSOR_INPUT_IN4; i++) {
		etc_common_add_sensor_value(decoded_buf, &decoded_buf_len, sizeof(decoded_buf),
					    record.sensor[i]);
	}
	etc_common_add_sensor_value(decoded_buf, &decoded_buf_len, sizeof(decoded_buf),
				    record.sensor[SENSOR_INPUT_AMBIENT]);

	if (sensor_humidity_is_valid(record.sensor[SENSOR_INPUT_HUMID])) {
		decoded_buf_len += snprintf(decoded_buf + decoded_buf_len,
					    sizeof(decoded_buf) - decoded_buf_len, "%2.2f,",
					    record.sensor[SENSOR_INPUT_HUMID]);
	} else {
		decoded_buf_len += snprintf(decoded_buf + decoded_buf_len,
					    sizeof(decoded_buf) - decoded_buf_len, "*,");
	}

	decoded_buf_len +=
		snprintf(decoded_buf + decoded_buf_len, sizeof(decoded_buf) - decoded_buf_len, "%d",
			 is_reclaim ? 1 : 0);

	/* Splitter sub-port temperatures (1.B..4.B = IN5..IN8), appended after
	 * isReclaimed. Emit IN5 up through the highest sub-port with a valid
	 * reading; trailing disconnected sub-ports are omitted (interior gaps
	 * become "*").
	 */
	int last_b = -1;
	for (int i = SENSOR_INPUT_IN5; i <= SENSOR_INPUT_IN8; i++) {
		if (sensor_temperature_is_valid(record.sensor[i])) {
			last_b = i;
		}
	}
	if (last_b >= 0) {
		decoded_buf_len += snprintf(decoded_buf + decoded_buf_len,
					    sizeof(decoded_buf) - decoded_buf_len, ",");
		for (int i = SENSOR_INPUT_IN5; i <= last_b; i++) {
			etc_common_add_sensor_value(decoded_buf, &decoded_buf_len,
						    sizeof(decoded_buf), record.sensor[i]);
		}
		/* Drop the helper's trailing comma so the string ends cleanly. */
		decoded_buf_len--;
	}

	decoded_buf[decoded_buf_len] = '\0';
	/* Include null terminator. Do not increment decodec_buf_len, as this
	 * would also modify out_len. */
	if ((decoded_buf_len + 1) > *out_len) {
		return -ENOMEM;
	}

	memcpy(out_buf, decoded_buf, decoded_buf_len + 1);
	*out_len = decoded_buf_len;
	return 0;
}
#endif
```

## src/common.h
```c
#ifndef COMMON_H_
#define COMMON_H_

#include "etc_device.h"

typedef enum {
        ETC_ADC_CHANNEL_AMB = 0,
        ETC_ADC_CHANNEL_BATTERY,
        ETC_ADC_CHANNEL_SENSOR,
        ETC_ADC_CHANNEL_HW_VER,
} etc_adc_channel_e;

#define LOGGER_MAXIMUM_COUNTER  99

/**
 * @brief Prepares legacy relay data.
 *
 * This function prepares legacy relay data based on the given record. The data
 * is stored in the provided buffer and its length is updated accordingly.
 *
 * @param record Pointer to the relay record to prepare legacy data for.
 * @param out_buf Pointer to the buffer where the legacy data will be stored.
 * @param out_len Pointer to the length of the output data, updated by the function.
 * @param out_size Size of out_buf
 *
 * @retval 0 on success
 * @retval -ENOMEM Data is larger than the buffer size
 */
int etc_common_prepare_relay_legacy_data(struct etc_device_relay_record *record, char *out_buf,
					 int *out_len, int out_size);

/**
 * @brief Write relay packet data in legacy format to a given buffer.alignas
 *
 * The difference between this and @ref etc_common_prepare_relay_legacy_data is that
 * this function writes multiple logger packets into one relay packet.
 *
 * @param packet Pointer to relay packet
 * @param out_buf Pointer to the buffer where the relay data will be stored
 * @param out_len Pointer to the length of the output data
 * @param out_size Size of out_buf
 *
 * @retval 0 on success
 * @retval -ENOMEM Data is larger than the buffer size
 */
int etc_common_prepare_relay_legacy_packet(struct etc_device_relay_packet *packet, char *out_buf,
					   int *out_len, int out_size);

/**
 * @brief Checks if a packet is from the parent relay.
 *
 * This function checks if a packet is from the parent relay based on the given
 * relay ID.
 *
 * @param relay_iccid The current relay ICCID
 * @param relay_id The relay ID to check.
 *
 * @return true if the packet is from the parent relay, false otherwise.
 */
bool etc_common_is_packet_from_parent(char *relay_iccid, char *relay_id);
#ifdef CONFIG_ETC_BLE_PAYLOAD_LEGACY_FORMAT
/**
 * @brief Prepares legacy logger data for the common ETC device.
 * 
 * This function prepares legacy logger data for the common ETC device based on the provided device record.
 * 
 * @param record The device record containing necessary data.
 * @param is_reclaim Flag indicating if the operation is a reclaim.
 * @param out_buf Pointer to the buffer where the prepared data will be stored.
 * @param out_len Pointer to the variable storing the length of the prepared data.
 * 
 * @return 0 on success
 */
int etc_common_prepare_logger_legacy_data(union etc_device_record record, bool is_reclaim, 
	char* out_buf, uint8_t* out_len) ;
#endif

/**
 * @brief Add a sensor value to the decoded buffer when assembling a legacy
 * LoRa packet.
 * 
 * @param decoded_buf The decoded buffer
 * @param decoded_buf_len The length of the decoded buffer
 * @param decoded_buf_size The size of the decoded buffer
 * @param value The value to add
 */
void etc_common_add_sensor_value(char *decoded_buf, int *decoded_buf_len, int decoded_buf_size,
				 float value);
#endif /* COMMON_H_ */
```
